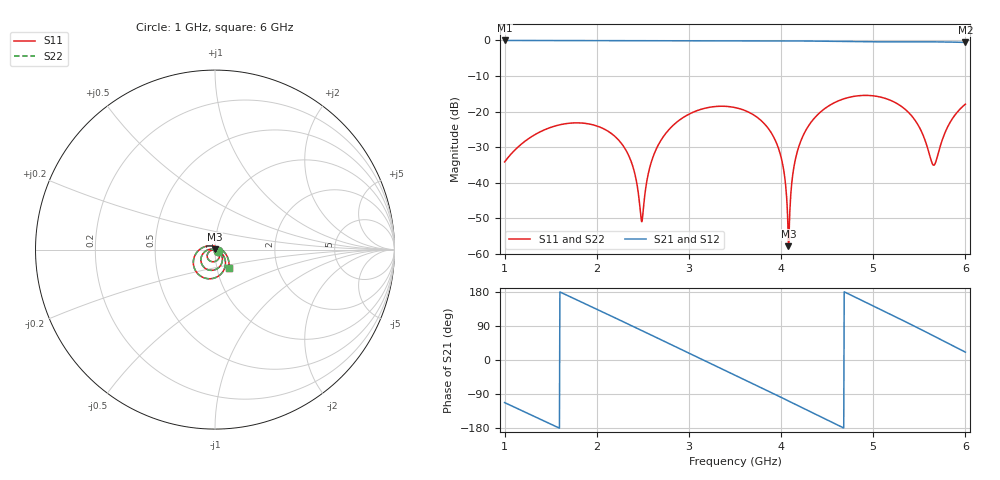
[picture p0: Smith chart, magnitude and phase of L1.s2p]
! Created Fri Aug  9 09:37:33 2024
! List of port names and net name(s): example Port n = <port_name> <net_name1> <net_name2> ...
! Port 1 = P1 P2
! Port 2 = P2 P2
# hz S ri R 50
! 2 Port Network Data from data block
! freq  reS11  imS11  reS21  imS21  reS12  imS12  reS22  imS22
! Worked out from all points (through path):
!   1001 points, 1 GHz to 6 GHz, reference 50 ohm
!   highest |S21| = -0.04 dB at 1 GHz (marker M1); lowest = -0.6 dB at 6 GHz (marker M2)
!   group delay of S21, straight-line fit = 325 ps
!   lowest |S11| = -57.8 dB at 4.08 GHz (marker M3), VSWR 1.00, Z = 50 + j0.127 ohm
!   |S11| at or under -10 dB: start of sweep to end of sweep
!   |S22| runs from -57.8 to -15.5 dB; largest |S21 - S12| = 0
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1e9  0.0179 -0.00819  -0.3793 -0.9204  -0.3793 -0.9204  0.0179 -0.00819
1.44e9  0.019 -0.0527  -0.9442 -0.3022  -0.9442 -0.3022  0.019 -0.0527
1.835e9  -0.0275 -0.0635  -0.8786 0.4512  -0.8786 0.4512  -0.0275 -0.0635
2.29e9  -0.0309 -0.0104  -0.1828 0.9701  -0.1828 0.9701  -0.0309 -0.0104
2.4e9  -0.0153 -0.00313  0.0351 0.9867  0.0351 0.9867  -0.0153 -0.00313
2.485e9  -0.000931 -0.00272  0.2033 0.9662  0.2033 0.9662  -0.000931 -0.00272
2.575e9  0.0144 -0.00788  0.3751 0.9131  0.3751 0.9131  0.0144 -0.00788
2.67e9  0.0285 -0.0194  0.5429 0.8238  0.5429 0.8238  0.0285 -0.0194
3.09e9  0.0192 -0.1015  0.9722 0.1317  0.9722 0.1317  0.0192 -0.1015
3.5e9  -0.067 -0.0921  0.7497 -0.6268  0.7497 -0.6268  -0.067 -0.0921
3.75e9  -0.0738 -0.0343  0.3495 -0.914  0.3495 -0.914  -0.0738 -0.0343
3.925e9  -0.0425 -0.00276  0.00555 -0.9799  0.00555 -0.9799  -0.0425 -0.00276
4.015e9  -0.0186 0.00291  -0.1758 -0.9643  -0.1758 -0.9643  -0.0186 0.00291
4.08e9  -0.000233 0.00127  -0.3038 -0.9319  -0.3038 -0.9319  -0.000233 0.00127
4.17e9  0.024 -0.00921  -0.4714 -0.8585  -0.4714 -0.8585  0.024 -0.00921
4.335e9  0.0543 -0.0496  -0.7306 -0.6474  -0.7306 -0.6474  0.0543 -0.0496
4.74e9  -0.00399 -0.1586  -0.9546 0.1098  -0.9546 0.1098  -0.00399 -0.1586
5.17e9  -0.1198 -0.0853  -0.5129 0.8019  -0.5129 0.8019  -0.1198 -0.0853
5.455e9  -0.0747 0.00804  0.0292 0.9526  0.0292 0.9526  -0.0747 0.00805
5.655e9  0.00484 0.017  0.423 0.8524  0.423 0.8524  0.00484 0.017
5.82e9  0.0605 -0.0251  0.6909 0.6461  0.6909 0.6461  0.0605 -0.0251
6e9  0.0769 -0.1014  0.8745 0.3303  0.8745 0.3303  0.0769 -0.1014
